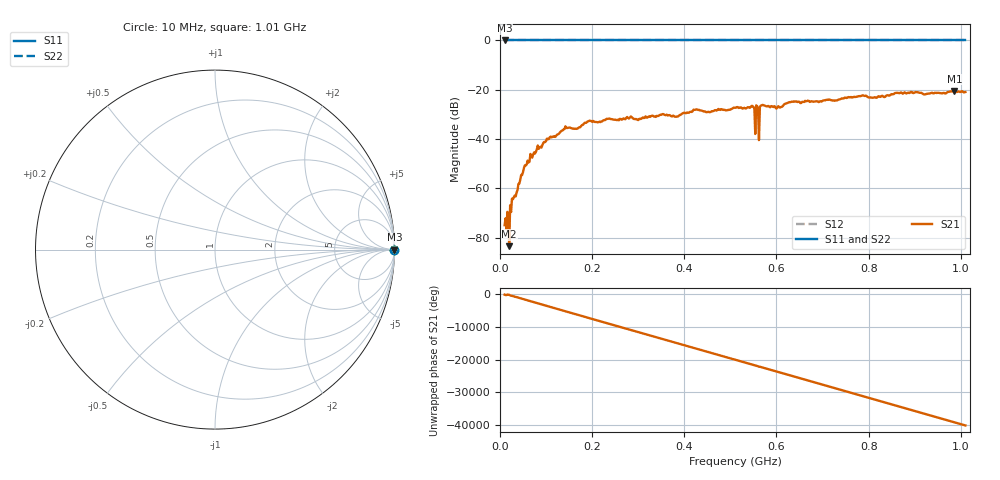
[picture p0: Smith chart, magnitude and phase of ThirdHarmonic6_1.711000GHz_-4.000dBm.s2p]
! 8/16/2025 8:34:39 PM
! C:\ANRITSUVNA\TEMP\TEMP.S2P
! CHANNEL.1
! TR.MEASUREMENT
! RAW.DATA
! RF.CORRECTION.OFF
! AVERAGING.OFF
! IF.BANDWIDTH: 5KHZ
! SWEEPTYPE:  FREQ.SWEEP(Linear)
! Reference Plane Port Info
! PORT:  PORT1  PORT2
! DISTANCE:  0  m  0  m
! TIME:  0  s  0  s
! PHASE.OFFSET:  0  deg.  0  deg.
! LOSS:  0  dB  0  dB
! REF.LOSS:  0  dB  0  dB
! REF.FREQ:  0  Hz  0  Hz
! Power Info
! POWER:  -20  dBm  -20  dBm
! EFF.POWER:  -20  dBm  -20  dBm
! SOURCE.ATTEN:  0  dB  0  dB
! TEST.ATTEN:  0  dB  0  dB
# GHZ S RI R 50.0
! FREQ.GHZ  S11RE  S11IM  S21RE  S21IM  S12RE  S12IM  S22RE  S22IM
!; PortSelection: Port_12
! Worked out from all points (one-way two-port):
!   501 points, 10 MHz to 1.01 GHz, reference 50 ohm
!   highest |S21| = -20.49 dB at 986 MHz (marker M1); lowest = -83.5 dB at 20 MHz (marker M2)
!   lowest |S11| = 0.0 dB at 10 MHz (marker M3)
!   |S11| at or under -10 dB: nowhere
!   |S22| runs from 0.0 to 0.0 dB; largest |S21 - S12| = 1.1
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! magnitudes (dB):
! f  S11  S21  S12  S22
! 10 MHz  0.0  -75.0  0.0  0.0
! 20 MHz  0.0  -83.5  0.0  0.0
! 24 MHz  0.0  -69.6  0.0  0.0
! 26 MHz  0.0  -64.2  0.0  0.0
! 50 MHz  0.0  -53.4  0.0  0.0
! 70 MHz  0.0  -47.5  0.0  0.0
! 140 MHz  0.0  -36.0  0.0  0.0
! 178 MHz  0.0  -34.3  0.0  0.0
! 194 MHz  0.0  -32.6  0.0  0.0
! 344 MHz  0.0  -30.6  0.0  0.0
! 510 MHz  0.0  -27.2  0.0  0.0
! 548 MHz  0.0  -26.6  0.0  0.0
! 550 MHz  0.0  -27.1  0.0  0.0
! 556 MHz  0.0  -26.3  0.0  0.0
! 558 MHz  0.0  -26.7  0.0  0.0
! 560 MHz  0.0  -27.6  0.0  0.0
! 566 MHz  0.0  -26.5  0.0  0.0
! 568 MHz  0.0  -26.3  0.0  0.0
! 678 MHz  0.0  -24.7  0.0  0.0
! 844 MHz  0.0  -22.4  0.0  0.0
! 986 MHz  0.0  -20.5  0.0  0.0
! 1.01 GHz  0.0  -20.9  0.0  0.0
